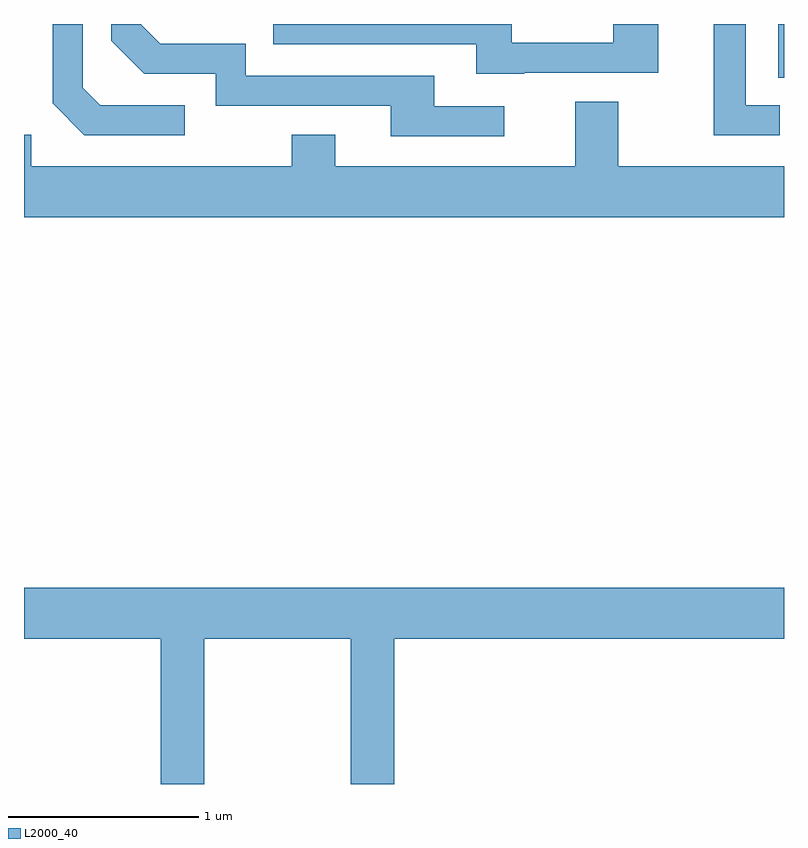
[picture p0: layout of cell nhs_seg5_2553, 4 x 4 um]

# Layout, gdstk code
import gdstk
lib = gdstk.Library(unit=1e-6, precision=1e-09)
def R(c, l, rs):  # rectangles x0, y0, x1, y1
    for r in rs: c.add(gdstk.rectangle(r[:2], r[2:], *l))
def P(c, l, *ps):  # polygons
    for p in ps: c.add(gdstk.Polygon(p, *l))
L2000_40 = (2000, 40)

nhs_seg5_2553 = lib.new_cell('nhs_seg5_2553')
R(nhs_seg5_2553, L2000_40, [(265.581,1419.788,265.611,1420.072)])
P(nhs_seg5_2553, L2000_40, [(264.138,1419.639),(263.769,1419.639),(263.769,1419.799),(262.779,1419.799),(262.779,1419.969),(262.327,1419.969),(262.229,1420.067),(262.229,1420.072),(262.071,1420.072),(262.071,1419.984),(262.244,1419.811),(262.621,1419.811),(262.621,1419.641),(263.541,1419.641),(263.541,1419.481),(264.138,1419.481)],
  [(265.588,1419.644),(265.409,1419.644),(265.409,1420.072),(265.241,1420.072),(265.241,1419.486),(265.588,1419.486)],
  [(264.245,1419.816),(264.949,1419.816),(264.949,1420.072),(264.711,1420.072),(264.711,1419.974),(264.179,1419.974),(264.179,1420.072),(262.923,1420.072),(262.923,1419.966),(263.991,1419.966),(263.991,1419.811),(264.245,1419.811)],
  [(262.458,1419.644),(262.012,1419.644),(261.919,1419.737),(261.919,1420.072),(261.761,1420.072),(261.761,1419.654),(261.929,1419.486),(262.458,1419.486)],
  [(265.611,1419.324),(264.739,1419.324),(264.739,1419.664),(264.511,1419.664),(264.511,1419.324),(263.249,1419.324),(263.249,1419.489),(263.021,1419.489),(263.021,1419.324),(261.649,1419.324),(261.649,1419.489),(261.611,1419.489),(261.611,1419.056),(265.611,1419.056)],
  [(262.559,1416.836),(263.331,1416.836),(263.331,1416.072),(263.559,1416.072),(263.559,1416.836),(265.611,1416.836),(265.611,1417.104),(261.611,1417.104),(261.611,1416.836),(262.331,1416.836),(262.331,1416.072),(262.559,1416.072)])

lib.write_gds('nhs_seg5_2553.gds')
